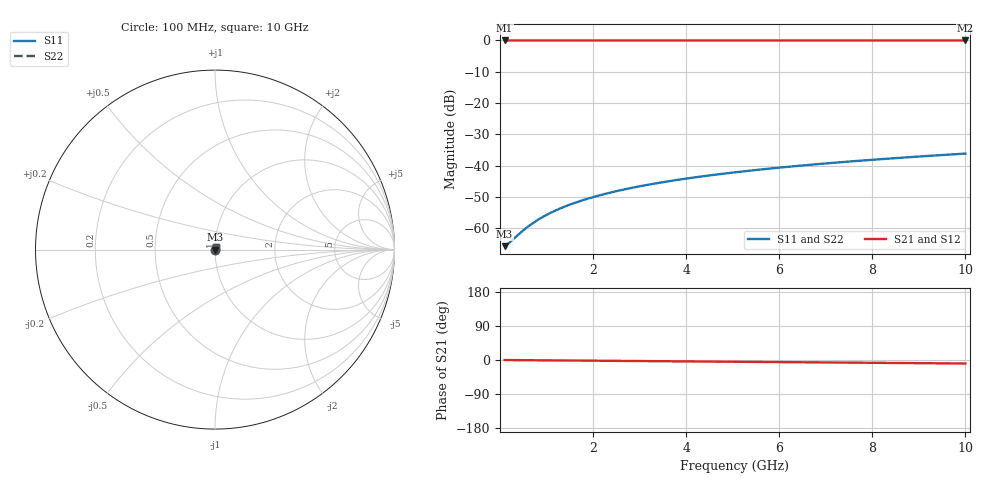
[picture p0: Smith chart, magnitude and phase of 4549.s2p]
# Hz S RI R 50.00
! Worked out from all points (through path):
!   100 points, 100 MHz to 10 GHz, reference 50 ohm
!   highest |S21| = 0.00 dB at 100 MHz (marker M1); lowest = 0.0 dB at 10 GHz (marker M2)
!   group delay of S21, straight-line fit = 2.57 ps
!   lowest |S11| = -65.8 dB at 100 MHz (marker M3), VSWR 1.00, Z = 50 + j0.0154 ohm
!   |S11| at or under -10 dB: start of sweep to end of sweep
!   |S22| runs from -65.8 to -36.2 dB; largest |S21 - S12| = 0
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1e8  0.000491 0.000154  0.9995 -0.0016  0.9995 -0.0016  0.000491 0.000154
2e8  0.000494 0.000308  0.9995 -0.0032  0.9995 -0.0032  0.000494 0.000308
4e8  0.0005 0.000616  0.9995 -0.00639  0.9995 -0.00639  0.0005 0.000616
5e8  0.000503 0.00077  0.9995 -0.00799  0.9995 -0.00799  0.000503 0.00077
6e8  0.000507 0.000923  0.9994 -0.00959  0.9994 -0.00959  0.000507 0.000923
7e8  0.000511 0.00108  0.9994 -0.0112  0.9994 -0.0112  0.000511 0.00108
9e8  0.00052 0.00138  0.9994 -0.0144  0.9994 -0.0144  0.00052 0.00138
1.1e9  0.00053 0.00169  0.9993 -0.0176  0.9993 -0.0176  0.00053 0.00169
1.3e9  0.000543 0.002  0.9993 -0.0208  0.9993 -0.0208  0.000543 0.002
1.5e9  0.000557 0.00231  0.9992 -0.024  0.9992 -0.024  0.000557 0.00231
1.8e9  0.000582 0.00277  0.9991 -0.0288  0.9991 -0.0288  0.000582 0.00277
2.1e9  0.000611 0.00322  0.9989 -0.0336  0.9989 -0.0336  0.000611 0.00322
2.5e9  0.000657 0.00384  0.9987 -0.04  0.9987 -0.04  0.000657 0.00384
2.9e9  0.00071 0.00445  0.9984 -0.0464  0.9984 -0.0464  0.00071 0.00445
3.4e9  0.000787 0.00521  0.998 -0.0544  0.998 -0.0544  0.000787 0.00521
4.2e9  0.000936 0.00642  0.9972 -0.0672  0.9972 -0.0672  0.000936 0.00642
5.1e9  0.00114 0.00779  0.9961 -0.0817  0.9961 -0.0817  0.00114 0.00779
5.9e9  0.00136 0.009  0.9949 -0.0945  0.9949 -0.0945  0.00136 0.009
6.7e9  0.00161 0.0102  0.9936 -0.1074  0.9936 -0.1074  0.00161 0.0102
7.5e9  0.00189 0.0114  0.9921 -0.1203  0.9921 -0.1203  0.00189 0.0114
8.4e9  0.00224 0.0128  0.9902 -0.1348  0.9902 -0.1348  0.00224 0.0128
1e10  0.00298 0.0152  0.9863 -0.1606  0.9863 -0.1606  0.00298 0.0152
